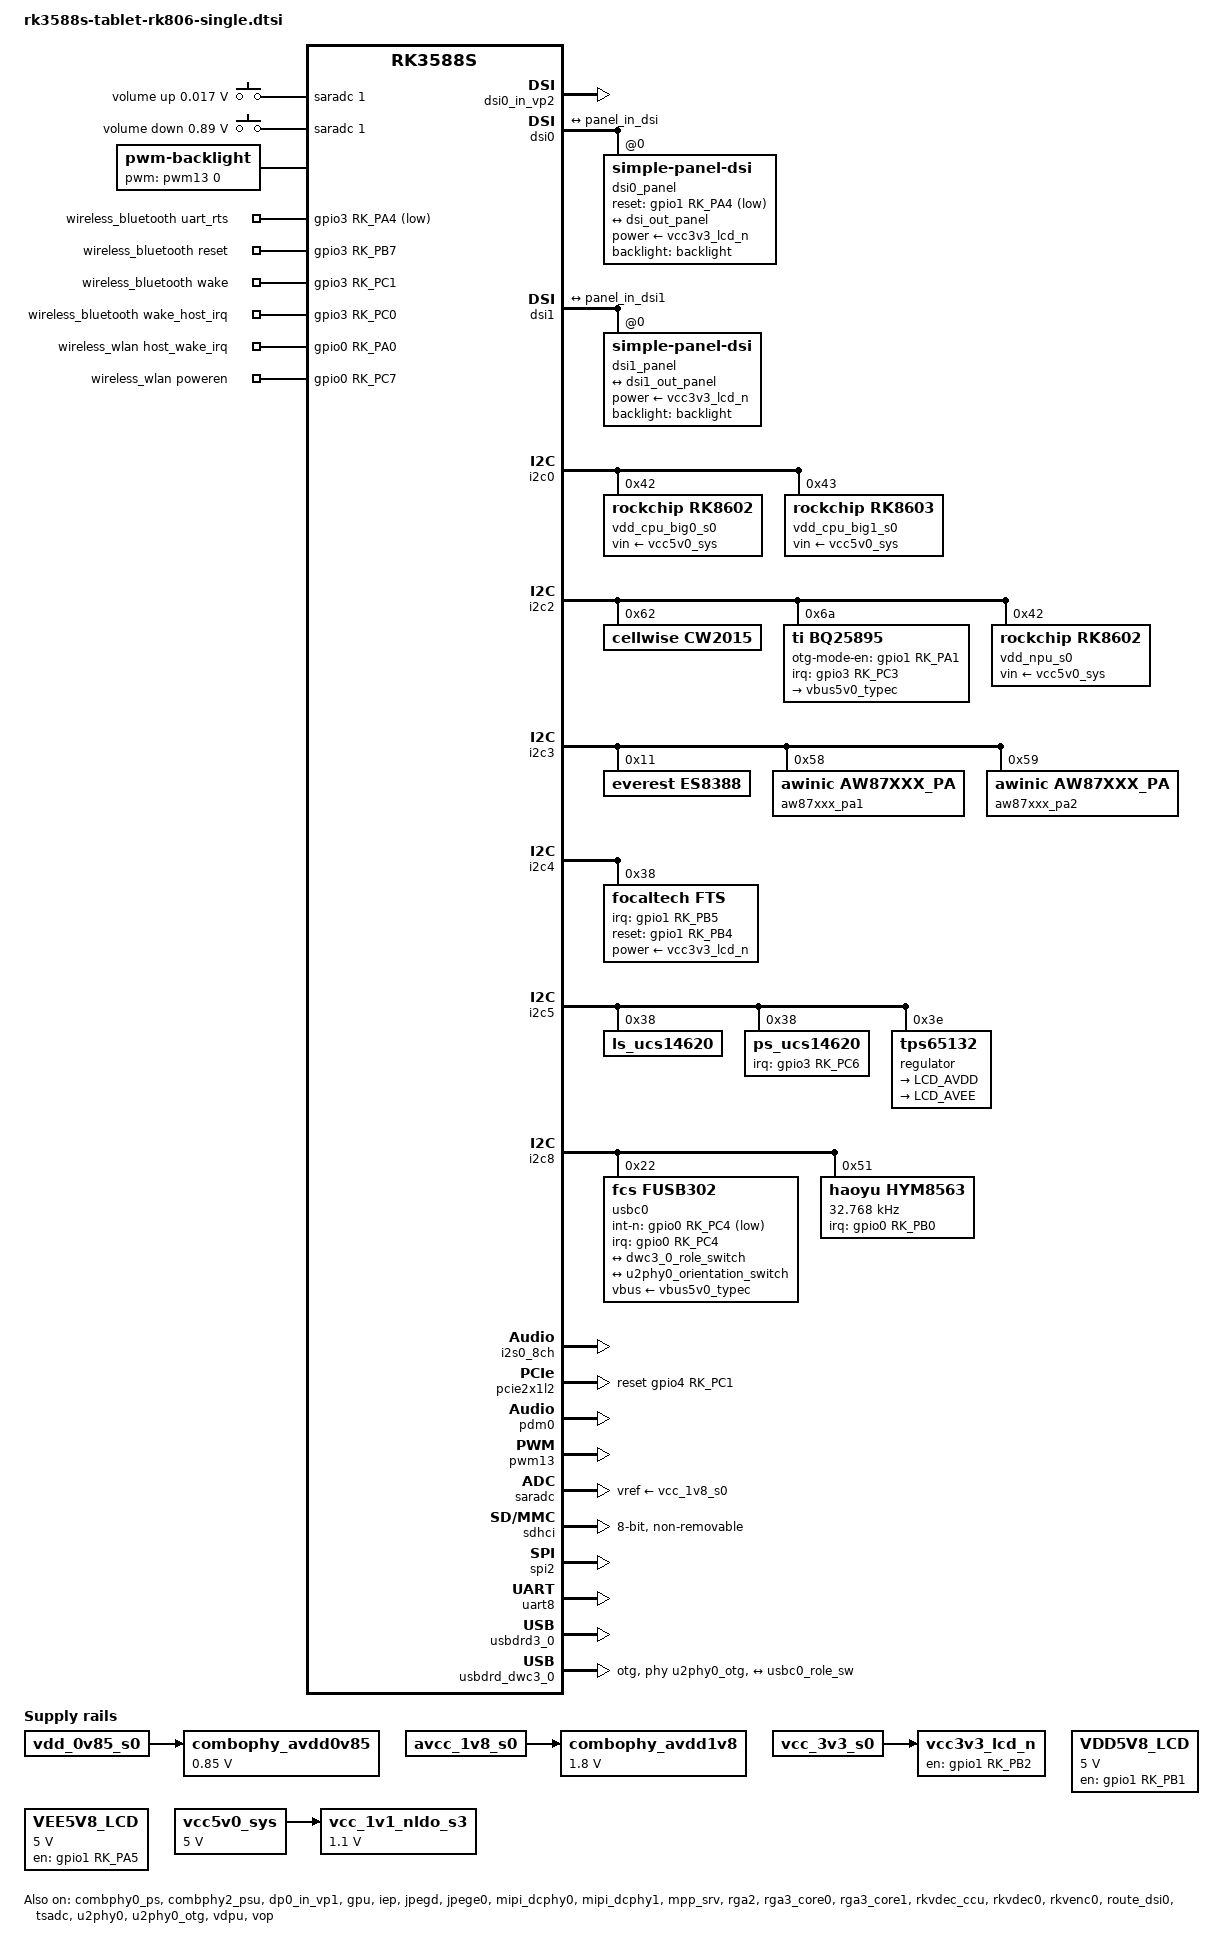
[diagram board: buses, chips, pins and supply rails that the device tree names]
// SPDX-License-Identifier: (GPL-2.0+ OR MIT)
/*
 * Copyright (c) 2021 Rockchip Electronics Co., Ltd.
 *
 */

#include <dt-bindings/gpio/gpio.h>
#include <dt-bindings/pwm/pwm.h>
#include <dt-bindings/pinctrl/rockchip.h>
#include <dt-bindings/input/rk-input.h>
#include <dt-bindings/display/drm_mipi_dsi.h>
#include <dt-bindings/display/rockchip_vop.h>
#include <dt-bindings/sensor-dev.h>
#include <dt-bindings/usb/pd.h>
#include "rk3588s.dtsi"
#include "rk3588-android.dtsi"
#include "rk3588-rk806-single.dtsi"

/ {
	adc_keys: adc-keys {
		compatible = "adc-keys";
		io-channels = <&saradc 1>;
		io-channel-names = "buttons";
		keyup-threshold-microvolt = <1800000>;
		poll-interval = <100>;

		vol-up-key {
			label = "volume up";
			linux,code = <KEY_VOLUMEUP>;
			press-threshold-microvolt = <17000>;
		};

		vol-down-key {
			label = "volume down";
			linux,code = <KEY_VOLUMEDOWN>;
			press-threshold-microvolt = <890000>;
		};
	};

	backlight: backlight {
		compatible = "pwm-backlight";
		pwms = <&pwm13 0 25000 0>;
		brightness-levels = <
			  0  20  20  21  21  22  22  23
			 23  24  24  25  25  26  26  27
			 27  28  28  29  29  30  30  31
			 31  32  32  33  33  34  34  35
			 35  36  36  37  37  38  38  39
			 40  41  42  43  44  45  46  47
			 48  49  50  51  52  53  54  55
			 56  57  58  59  60  61  62  63
			 64  65  66  67  68  69  70  71
			 72  73  74  75  76  77  78  79
			 80  81  82  83  84  85  86  87
			 88  89  90  91  92  93  94  95
			 96  97  98  99 100 101 102 103
			104 105 106 107 108 109 110 111
			112 113 114 115 116 117 118 119
			120 121 122 123 124 125 126 127
			128 129 130 131 132 133 134 135
			136 137 138 139 140 141 142 143
			144 145 146 147 148 149 150 151
			152 153 154 155 156 157 158 159
			160 161 162 163 164 165 166 167
			168 169 170 171 172 173 174 175
			176 177 178 179 180 181 182 183
			184 185 186 187 188 189 190 191
			192 193 194 195 196 197 198 199
			200 201 202 203 204 205 206 207
			208 209 210 211 212 213 214 215
			216 217 218 219 220 221 222 223
			224 225 226 227 228 229 230 231
			232 233 234 235 236 237 238 239
			240 241 242 243 244 245 246 247
			248 249 250 251 252 253 254 255
		>;
		default-brightness-level = <200>;
	};

	combophy_avdd0v85: combophy-avdd0v85 {
		compatible = "regulator-fixed";
		regulator-name = "combophy_avdd0v85";
		regulator-boot-on;
		regulator-min-microvolt = <850000>;
		regulator-max-microvolt = <850000>;
		vin-supply = <&vdd_0v85_s0>;
	};

	combophy_avdd1v8: combophy-avdd1v8 {
		compatible = "regulator-fixed";
		regulator-name = "combophy_avdd1v8";
		regulator-boot-on;
		regulator-min-microvolt = <1800000>;
		regulator-max-microvolt = <1800000>;
		vin-supply = <&avcc_1v8_s0>;
	};

	charge-animation {
		compatible = "rockchip,uboot-charge";
		rockchip,uboot-charge-on = <0>;
		rockchip,android-charge-on = <1>;
		rockchip,uboot-low-power-voltage = <3350>;
		rockchip,screen-on-voltage = <3400>;
		status = "okay";
	};

	es8388_sound: es8388-sound {
		status = "okay";
		compatible = "simple-audio-card";
		simple-audio-card,format = "i2s";
		simple-audio-card,mclk-fs = <256>;
		simple-audio-card,name = "rockchip,es8388-codec";
		simple-audio-card,aux-devs = <&aw87xxx_pa1 &aw87xxx_pa2>;
		simple-audio-card,dai-link@0 {
			format = "i2s";
			cpu {
				sound-dai = <&i2s0_8ch>;
			};
			codec {
				sound-dai = <&es8388>;
			};
		};
	};

	vcc3v3_lcd_n: vcc3v3-lcd0-n {
		compatible = "regulator-fixed";
		regulator-name = "vcc3v3_lcd0_n";
		regulator-boot-on;
		enable-active-high;
		gpio = <&gpio1 RK_PB2 GPIO_ACTIVE_HIGH>;
		vin-supply = <&vcc_3v3_s0>;
	};

	VDD5V8_LCD: vcc5v0-host {
		compatible = "regulator-fixed";
		regulator-name = "vcc5v0_host";
		regulator-boot-on;
		regulator-always-on;
		regulator-min-microvolt = <5000000>;
		regulator-max-microvolt = <5000000>;
		enable-active-high;
		gpio = <&gpio1 RK_PB1 GPIO_ACTIVE_HIGH>;
		/*vin-supply = <&vcc5v0_usb>;*/
		pinctrl-names = "default";
		pinctrl-0 = <&vcc5v0_host_en>;
	};

	VEE5V8_LCD: vcc5v0-host1 {
		compatible = "regulator-fixed";
		regulator-name = "vcc5v0_host1";
		regulator-boot-on;
		regulator-always-on;
		regulator-min-microvolt = <5000000>;
		regulator-max-microvolt = <5000000>;
		enable-active-high;
		gpio = <&gpio1 RK_PA5 GPIO_ACTIVE_HIGH>;
		/*vin-supply = <&vcc5v0_usb>;*/
		pinctrl-names = "default";
		pinctrl-0 = <&vcc5v0_host_en1>;
	};

	vcc5v0_sys: vcc5v0-sys {
		compatible = "regulator-fixed";
		regulator-name = "vcc5v0_sys";
		regulator-always-on;
		regulator-boot-on;
		regulator-min-microvolt = <5000000>;
		regulator-max-microvolt = <5000000>;
	};

	vcc_1v1_nldo_s3: vcc-1v1-nldo-s3 {
		compatible = "regulator-fixed";
		regulator-name = "vcc_1v1_nldo_s3";
		regulator-always-on;
		regulator-boot-on;
		regulator-min-microvolt = <1100000>;
		regulator-max-microvolt = <1100000>;
		vin-supply = <&vcc5v0_sys>;
	};

	wireless_bluetooth: wireless-bluetooth {
		compatible = "bluetooth-platdata";
		clocks = <&hym8563>;
		clock-names = "ext_clock";
		uart_rts_gpios = <&gpio3 RK_PA4 GPIO_ACTIVE_LOW>;
		pinctrl-names = "default", "rts_gpio";
		pinctrl-0 = <&uart8m1_rtsn>, <&bt_reset_gpio>, <&bt_wake_gpio>, <&bt_wake_host_irq>;
		pinctrl-1 = <&uart8_gpios>;
		BT,reset_gpio    = <&gpio3 RK_PB7 GPIO_ACTIVE_HIGH>;
		BT,wake_gpio     = <&gpio3 RK_PC1 GPIO_ACTIVE_HIGH>;
		BT,wake_host_irq = <&gpio3 RK_PC0 GPIO_ACTIVE_HIGH>;
		status = "okay";
	};

	wireless_wlan: wireless-wlan {
		compatible = "wlan-platdata";
		wifi_chip_type = "ap6255";
		pinctrl-names = "default";
		pinctrl-0 = <&wifi_host_wake_irq>, <&wifi_poweren_gpio>;
		WIFI,host_wake_irq = <&gpio0 RK_PA0 GPIO_ACTIVE_HIGH>;
		WIFI,poweren_gpio = <&gpio0 RK_PC7 GPIO_ACTIVE_HIGH>;
		status = "okay";
	};
};

&combphy0_ps {
	status = "okay";
};

&combphy2_psu {
	status = "okay";
};

&cpu_l0 {
	cpu-supply = <&vdd_cpu_lit_s0>;
	mem-supply = <&vdd_cpu_lit_mem_s0>;
};

&cpu_b0 {
	cpu-supply = <&vdd_cpu_big0_s0>;
	mem-supply = <&vdd_cpu_big0_mem_s0>;
};

&cpu_b2 {
	cpu-supply = <&vdd_cpu_big1_s0>;
	mem-supply = <&vdd_cpu_big1_mem_s0>;
};

&dmc {
	system-status-level = <
		/*system status         freq level*/
		SYS_STATUS_NORMAL       DMC_FREQ_LEVEL_MID_HIGH
		SYS_STATUS_REBOOT       DMC_FREQ_LEVEL_HIGH
		SYS_STATUS_SUSPEND      DMC_FREQ_LEVEL_LOW
		SYS_STATUS_BOOST        DMC_FREQ_LEVEL_HIGH
		SYS_STATUS_ISP          DMC_FREQ_LEVEL_HIGH
		SYS_STATUS_PERFORMANCE  DMC_FREQ_LEVEL_HIGH
		SYS_STATUS_DUALVIEW     DMC_FREQ_LEVEL_HIGH
	>;
};

&dp0 {
	status = "disabled";
};

&dp0_in_vp1 {
	status = "okay";
};

&dsi0_in_vp2 {
	status = "okay";
};

&dsi0_in_vp3 {
	status = "disabled";
};

/*
 * mipi_dcphy0 needs to be enabled
 * when dsi0 is enabled
 */
&dsi0 {
	status = "okay";
	rockchip,dual-channel = <&dsi1>;
	//rockchip,lane-rate = <1000>;
	dsi0_panel: panel@0 {
		status = "okay";
		compatible = "simple-panel-dsi";
		reg = <0>;
		backlight = <&backlight>;
		reset-delay-ms = <60>;
		enable-delay-ms = <60>;
		prepare-delay-ms = <60>;
		unprepare-delay-ms = <60>;
		disable-delay-ms = <60>;
		dsi,flags = <(MIPI_DSI_MODE_VIDEO | MIPI_DSI_MODE_VIDEO_BURST |
			MIPI_DSI_MODE_LPM | MIPI_DSI_MODE_EOT_PACKET)>;
		dsi,format = <MIPI_DSI_FMT_RGB888>;
		dsi,lanes  = <4>;
		panel-init-sequence = [
			23 00 02 FE 21
			23 00 02 04 00
			23 00 02 00 64
			23 00 02 2A 00
			23 00 02 26 64
			23 00 02 54 00
			23 00 02 50 64
			23 00 02 7B 00
			23 00 02 77 64
			23 00 02 A2 00
			23 00 02 9D 64
			23 00 02 C9 00
			23 00 02 C5 64
			23 00 02 01 71
			23 00 02 27 71
			23 00 02 51 71
			23 00 02 78 71
			23 00 02 9E 71
			23 00 02 C6 71
			23 00 02 02 89
			23 00 02 28 89
			23 00 02 52 89
			23 00 02 79 89
			23 00 02 9F 89
			23 00 02 C7 89
			23 00 02 03 9E
			23 00 02 29 9E
			23 00 02 53 9E
			23 00 02 7A 9E
			23 00 02 A0 9E
			23 00 02 C8 9E
			23 00 02 09 00
			23 00 02 05 B0
			23 00 02 31 00
			23 00 02 2B B0
			23 00 02 5A 00
			23 00 02 55 B0
			23 00 02 80 00
			23 00 02 7C B0
			23 00 02 A7 00
			23 00 02 A3 B0
			23 00 02 CE 00
			23 00 02 CA B0
			23 00 02 06 C0
			23 00 02 2D C0
			23 00 02 56 C0
			23 00 02 7D C0
			23 00 02 A4 C0
			23 00 02 CB C0
			23 00 02 07 CF
			23 00 02 2F CF
			23 00 02 58 CF
			23 00 02 7E CF
			23 00 02 A5 CF
			23 00 02 CC CF
			23 00 02 08 DD
			23 00 02 30 DD
			23 00 02 59 DD
			23 00 02 7F DD
			23 00 02 A6 DD
			23 00 02 CD DD
			23 00 02 0E 15
			23 00 02 0A E9
			23 00 02 36 15
			23 00 02 32 E9
			23 00 02 5F 15
			23 00 02 5B E9
			23 00 02 85 15
			23 00 02 81 E9
			23 00 02 AD 15
			23 00 02 A9 E9
			23 00 02 D3 15
			23 00 02 CF E9
			23 00 02 0B 14
			23 00 02 33 14
			23 00 02 5C 14
			23 00 02 82 14
			23 00 02 AA 14
			23 00 02 D0 14
			23 00 02 0C 36
			23 00 02 34 36
			23 00 02 5D 36
			23 00 02 83 36
			23 00 02 AB 36
			23 00 02 D1 36
			23 00 02 0D 6B
			23 00 02 35 6B
			23 00 02 5E 6B
			23 00 02 84 6B
			23 00 02 AC 6B
			23 00 02 D2 6B
			23 00 02 13 5A
			23 00 02 0F 94
			23 00 02 3B 5A
			23 00 02 37 94
			23 00 02 64 5A
			23 00 02 60 94
			23 00 02 8A 5A
			23 00 02 86 94
			23 00 02 B2 5A
			23 00 02 AE 94
			23 00 02 D8 5A
			23 00 02 D4 94
			23 00 02 10 D1
			23 00 02 38 D1
			23 00 02 61 D1
			23 00 02 87 D1
			23 00 02 AF D1
			23 00 02 D5 D1
			23 00 02 11 04
			23 00 02 39 04
			23 00 02 62 04
			23 00 02 88 04
			23 00 02 B0 04
			23 00 02 D6 04
			23 00 02 12 05
			23 00 02 3A 05
			23 00 02 63 05
			23 00 02 89 05
			23 00 02 B1 05
			23 00 02 D7 05
			23 00 02 18 AA
			23 00 02 14 36
			23 00 02 42 AA
			23 00 02 3D 36
			23 00 02 69 AA
			23 00 02 65 36
			23 00 02 8F AA
			23 00 02 8B 36
			23 00 02 B7 AA
			23 00 02 B3 36
			23 00 02 DD AA
			23 00 02 D9 36
			23 00 02 15 74
			23 00 02 3F 74
			23 00 02 66 74
			23 00 02 8C 74
			23 00 02 B4 74
			23 00 02 DA 74
			23 00 02 16 9F
			23 00 02 40 9F
			23 00 02 67 9F
			23 00 02 8D 9F
			23 00 02 B5 9F
			23 00 02 DB 9F
			23 00 02 17 DC
			23 00 02 41 DC
			23 00 02 68 DC
			23 00 02 8E DC
			23 00 02 B6 DC
			23 00 02 DC DC
			23 00 02 1D FF
			23 00 02 19 03
			23 00 02 47 FF
			23 00 02 43 03
			23 00 02 6E FF
			23 00 02 6A 03
			23 00 02 94 FF
			23 00 02 90 03
			23 00 02 BC FF
			23 00 02 B8 03
			23 00 02 E2 FF
			23 00 02 DE 03
			23 00 02 1A 35
			23 00 02 44 35
			23 00 02 6B 35
			23 00 02 91 35
			23 00 02 B9 35
			23 00 02 DF 35
			23 00 02 1B 45
			23 00 02 45 45
			23 00 02 6C 45
			23 00 02 92 45
			23 00 02 BA 45
			23 00 02 E0 45
			23 00 02 1C 55
			23 00 02 46 55
			23 00 02 6D 55
			23 00 02 93 55
			23 00 02 BB 55
			23 00 02 E1 55
			23 00 02 22 FF
			23 00 02 1E 68
			23 00 02 4C FF
			23 00 02 48 68
			23 00 02 73 FF
			23 00 02 6F 68
			23 00 02 99 FF
			23 00 02 95 68
			23 00 02 C1 FF
			23 00 02 BD 68
			23 00 02 E7 FF
			23 00 02 E3 68
			23 00 02 1F 7E
			23 00 02 49 7E
			23 00 02 70 7E
			23 00 02 96 7E
			23 00 02 BE 7E
			23 00 02 E4 7E
			23 00 02 20 97
			23 00 02 4A 97
			23 00 02 71 97
			23 00 02 97 97
			23 00 02 BF 97
			23 00 02 E5 97
			23 00 02 21 B5
			23 00 02 4B B5
			23 00 02 72 B5
			23 00 02 98 B5
			23 00 02 C0 B5
			23 00 02 E6 B5
			23 00 02 25 F0
			23 00 02 23 E8
			23 00 02 4F F0
			23 00 02 4D E8
			23 00 02 76 F0
			23 00 02 74 E8
			23 00 02 9C F0
			23 00 02 9A E8
			23 00 02 C4 F0
			23 00 02 C2 E8
			23 00 02 EA F0
			23 00 02 E8 E8
			23 00 02 24 FF
			23 00 02 4E FF
			23 00 02 75 FF
			23 00 02 9B FF
			23 00 02 C3 FF
			23 00 02 E9 FF
			23 00 02 FE 3D
			23 00 02 00 04
			23 00 02 FE 23
			23 00 02 08 82
			23 00 02 0A 00
			23 00 02 0B 00
			23 00 02 0C 01
			23 00 02 16 00
			23 00 02 18 02
			23 00 02 1B 04
			23 00 02 19 04
			23 00 02 1C 81
			23 00 02 1F 00
			23 00 02 20 03
			23 00 02 23 04
			23 00 02 21 01
			23 00 02 54 63
			23 00 02 55 54
			23 00 02 6E 45
			23 00 02 6D 36
			23 00 02 FE 3D
			23 00 02 55 78
			23 00 02 FE 20
			23 00 02 26 30
			23 00 02 FE 3D
			23 00 02 20 71
			23 00 02 50 8F
			23 00 02 51 8F
			23 00 02 FE 00
			23 00 02 35 00
			05 78 01 11
			05 1E 01 29
		];

		panel-exit-sequence = [
			05 00 01 28
			05 00 01 10
		];

		disp_timings0: display-timings {
			native-mode = <&dsi0_timing0>;
			dsi0_timing0: timing0 {
				clock-frequency = <132000000>;
				hactive = <1080>;
				vactive = <1920>;
				hfront-porch = <15>;
				hsync-len = <4>;
				hback-porch = <30>;
				vfront-porch = <15>;
				vsync-len = <2>;
				vback-porch = <15>;
				hsync-active = <0>;
				vsync-active = <0>;
				de-active = <0>;
				pixelclk-active = <0>;
			};
		};

		ports {
			#address-cells = <1>;
			#size-cells = <0>;

			port@0 {
				reg = <0>;
				panel_in_dsi: endpoint {
					remote-endpoint = <&dsi_out_panel>;
				};
			};
		};
	};

	ports {
		#address-cells = <1>;
		#size-cells = <0>;

		port@1 {
			reg = <1>;
			dsi_out_panel: endpoint {
				remote-endpoint = <&panel_in_dsi>;
			};
		};
	};

};

&dsi1 {
	status = "okay";
	//rockchip,lane-rate = <1000>;
	dsi1_panel: panel@0 {
		status = "okay";
		compatible = "simple-panel-dsi";
		reg = <0>;
		backlight = <&backlight>;
		reset-delay-ms = <60>;
		enable-delay-ms = <60>;
		prepare-delay-ms = <60>;
		unprepare-delay-ms = <60>;
		disable-delay-ms = <60>;
		dsi,flags = <(MIPI_DSI_MODE_VIDEO | MIPI_DSI_MODE_VIDEO_BURST |
			MIPI_DSI_MODE_LPM | MIPI_DSI_MODE_EOT_PACKET)>;
		dsi,format = <MIPI_DSI_FMT_RGB888>;
		dsi,lanes  = <4>;
		panel-init-sequence = [
			23 00 02 FE 21
			23 00 02 04 00
			23 00 02 00 64
			23 00 02 2A 00
			23 00 02 26 64
			23 00 02 54 00
			23 00 02 50 64
			23 00 02 7B 00
			23 00 02 77 64
			23 00 02 A2 00
			23 00 02 9D 64
			23 00 02 C9 00
			23 00 02 C5 64
			23 00 02 01 71
			23 00 02 27 71
			23 00 02 51 71
			23 00 02 78 71
			23 00 02 9E 71
			23 00 02 C6 71
			23 00 02 02 89
			23 00 02 28 89
			23 00 02 52 89
			23 00 02 79 89
			23 00 02 9F 89
			23 00 02 C7 89
			23 00 02 03 9E
			23 00 02 29 9E
			23 00 02 53 9E
			23 00 02 7A 9E
			23 00 02 A0 9E
			23 00 02 C8 9E
			23 00 02 09 00
			23 00 02 05 B0
			23 00 02 31 00
			23 00 02 2B B0
			23 00 02 5A 00
			23 00 02 55 B0
			23 00 02 80 00
			23 00 02 7C B0
			23 00 02 A7 00
			23 00 02 A3 B0
			23 00 02 CE 00
			23 00 02 CA B0
			23 00 02 06 C0
			23 00 02 2D C0
			23 00 02 56 C0
			23 00 02 7D C0
			23 00 02 A4 C0
			23 00 02 CB C0
			23 00 02 07 CF
			23 00 02 2F CF
			23 00 02 58 CF
			23 00 02 7E CF
			23 00 02 A5 CF
			23 00 02 CC CF
			23 00 02 08 DD
			23 00 02 30 DD
			23 00 02 59 DD
			23 00 02 7F DD
			23 00 02 A6 DD
			23 00 02 CD DD
			23 00 02 0E 15
			23 00 02 0A E9
			23 00 02 36 15
			23 00 02 32 E9
			23 00 02 5F 15
			23 00 02 5B E9
			23 00 02 85 15
			23 00 02 81 E9
			23 00 02 AD 15
			23 00 02 A9 E9
			23 00 02 D3 15
			23 00 02 CF E9
			23 00 02 0B 14
			23 00 02 33 14
			23 00 02 5C 14
			23 00 02 82 14
			23 00 02 AA 14
			23 00 02 D0 14
			23 00 02 0C 36
			23 00 02 34 36
			23 00 02 5D 36
			23 00 02 83 36
			23 00 02 AB 36
			23 00 02 D1 36
			23 00 02 0D 6B
			23 00 02 35 6B
			23 00 02 5E 6B
			23 00 02 84 6B
			23 00 02 AC 6B
			23 00 02 D2 6B
			23 00 02 13 5A
			23 00 02 0F 94
			23 00 02 3B 5A
			23 00 02 37 94
			23 00 02 64 5A
			23 00 02 60 94
			23 00 02 8A 5A
			23 00 02 86 94
			23 00 02 B2 5A
			23 00 02 AE 94
			23 00 02 D8 5A
			23 00 02 D4 94
			23 00 02 10 D1
			23 00 02 38 D1
			23 00 02 61 D1
			23 00 02 87 D1
			23 00 02 AF D1
			23 00 02 D5 D1
			23 00 02 11 04
			23 00 02 39 04
			23 00 02 62 04
			23 00 02 88 04
			23 00 02 B0 04
			23 00 02 D6 04
			23 00 02 12 05
			23 00 02 3A 05
			23 00 02 63 05
			23 00 02 89 05
			23 00 02 B1 05
			23 00 02 D7 05
			23 00 02 18 AA
			23 00 02 14 36
			23 00 02 42 AA
			23 00 02 3D 36
			23 00 02 69 AA
			23 00 02 65 36
			23 00 02 8F AA
			23 00 02 8B 36
			23 00 02 B7 AA
			23 00 02 B3 36
			23 00 02 DD AA
			23 00 02 D9 36
			23 00 02 15 74
			23 00 02 3F 74
			23 00 02 66 74
			23 00 02 8C 74
			23 00 02 B4 74
			23 00 02 DA 74
			23 00 02 16 9F
			23 00 02 40 9F
			23 00 02 67 9F
			23 00 02 8D 9F
			23 00 02 B5 9F
			23 00 02 DB 9F
			23 00 02 17 DC
			23 00 02 41 DC
			23 00 02 68 DC
			23 00 02 8E DC
			23 00 02 B6 DC
			23 00 02 DC DC
			23 00 02 1D FF
			23 00 02 19 03
			23 00 02 47 FF
			23 00 02 43 03
			23 00 02 6E FF
			23 00 02 6A 03
			23 00 02 94 FF
			23 00 02 90 03
			23 00 02 BC FF
			23 00 02 B8 03
			23 00 02 E2 FF
			23 00 02 DE 03
			23 00 02 1A 35
			23 00 02 44 35
			23 00 02 6B 35
			23 00 02 91 35
			23 00 02 B9 35
			23 00 02 DF 35
			23 00 02 1B 45
			23 00 02 45 45
			23 00 02 6C 45
			23 00 02 92 45
			23 00 02 BA 45
			23 00 02 E0 45
			23 00 02 1C 55
			23 00 02 46 55
			23 00 02 6D 55
			23 00 02 93 55
			23 00 02 BB 55
			23 00 02 E1 55
			23 00 02 22 FF
			23 00 02 1E 68
			23 00 02 4C FF
			23 00 02 48 68
			23 00 02 73 FF
			23 00 02 6F 68
			23 00 02 99 FF
			23 00 02 95 68
			23 00 02 C1 FF
			23 00 02 BD 68
			23 00 02 E7 FF
			23 00 02 E3 68
			23 00 02 1F 7E
			23 00 02 49 7E
			23 00 02 70 7E
			23 00 02 96 7E
			23 00 02 BE 7E
			23 00 02 E4 7E
			23 00 02 20 97
			23 00 02 4A 97
			23 00 02 71 97
			23 00 02 97 97
			23 00 02 BF 97
			23 00 02 E5 97
			23 00 02 21 B5
			23 00 02 4B B5
			23 00 02 72 B5
			23 00 02 98 B5
			23 00 02 C0 B5
			23 00 02 E6 B5
			23 00 02 25 F0
			23 00 02 23 E8
			23 00 02 4F F0
			23 00 02 4D E8
			23 00 02 76 F0
			23 00 02 74 E8
			23 00 02 9C F0
			23 00 02 9A E8
			23 00 02 C4 F0
			23 00 02 C2 E8
			23 00 02 EA F0
			23 00 02 E8 E8
			23 00 02 24 FF
			23 00 02 4E FF
			23 00 02 75 FF
			23 00 02 9B FF
			23 00 02 C3 FF
			23 00 02 E9 FF
			23 00 02 FE 3D
			23 00 02 00 04
			23 00 02 FE 23
			23 00 02 08 82
			23 00 02 0A 00
			23 00 02 0B 00
			23 00 02 0C 01
			23 00 02 16 00
			23 00 02 18 02
			23 00 02 1B 04
			23 00 02 19 04
			23 00 02 1C 81
			23 00 02 1F 00
			23 00 02 20 03
			23 00 02 23 04
			23 00 02 21 01
			23 00 02 54 63
			23 00 02 55 54
			23 00 02 6E 45
			23 00 02 6D 36
			23 00 02 FE 3D
			23 00 02 55 78
			23 00 02 FE 20
			23 00 02 26 30
			23 00 02 FE 3D
			23 00 02 20 71
			23 00 02 50 8F
			23 00 02 51 8F
			23 00 02 FE 00
			23 00 02 35 00
			05 78 01 11
			05 1E 01 29
		];

		panel-exit-sequence = [
			05 00 01 28
			05 00 01 10
		];

		disp_timings1: display-timings {
			native-mode = <&dsi1_timing0>;
			dsi1_timing0: timing0 {
				clock-frequency = <132000000>;
				hactive = <1080>;
				vactive = <1920>;
				hfront-porch = <15>;
				hsync-len = <4>;
				hback-porch = <30>;
				vfront-porch = <15>;
				vsync-len = <2>;
				vback-porch = <15>;
				hsync-active = <0>;
				vsync-active = <0>;
				de-active = <0>;
				pixelclk-active = <0>;
			};
		};

		ports {
			#address-cells = <1>;
			#size-cells = <0>;

			port@0 {
				reg = <0>;
				panel_in_dsi1: endpoint {
					remote-endpoint = <&dsi1_out_panel>;
				};
			};
		};
	};

	ports {
		#address-cells = <1>;
		#size-cells = <0>;

		port@1 {
			reg = <1>;
			dsi1_out_panel: endpoint {
				remote-endpoint = <&panel_in_dsi1>;
			};
		};
	};

};

&dsi0_panel {
	power-supply = <&vcc3v3_lcd_n>;
	reset-gpios = <&gpio1 RK_PA4 GPIO_ACTIVE_LOW>;
	pinctrl-names = "default";
	pinctrl-0 = <&lcd_rst_gpio>;
	dsi,lanes  = <8>;
	panel-init-sequence = [
		29 02 02 00 00
		29 02 03 99 95 27
		05 78 01 11
		05 01 01 29
		29 00 02 00 00
		29 01 03 99 00 00
	];

	panel-exit-sequence = [
		29 00 02 00 00
		29 00 03 99 95 27
		05 01 01 28
		05 01 01 10
	];

	disp_timings0: display-timings {
		native-mode = <&dsi0_timing0>;
		dsi0_timing0: timing0 {
			clock-frequency = <246000000>;
			hactive = <1600>;
			vactive = <2176>;
			hfront-porch = <18>;
			hsync-len = <8>;
			hback-porch = <32>;
			vfront-porch = <255>;
			vsync-len = <6>;
			vback-porch = <34>;
			hsync-active = <0>;
			vsync-active = <0>;
			de-active = <0>;
			pixelclk-active = <0>;
		};
	};
};

&dsi1_in_vp2 {
	status = "disabled";
};

&dsi1_in_vp3 {
	status = "disabled";
};

&dsi1_panel {
	power-supply = <&vcc3v3_lcd_n>;
	compressed-data;
	/*
	 * because in hardware, the two screens share the reset pin,
	 * so reset-gpios need only in dsi1 enable and dsi0 disabled
	 * case.
	 */

	//reset-gpios = <&gpio1 RK_PA4 GPIO_ACTIVE_LOW>;
	//pinctrl-names = "default";
	//pinctrl-0 = <&lcd_rst_gpio>;

	dsi,flags = <(MIPI_DSI_MODE_LPM | MIPI_DSI_MODE_EOT_PACKET)>;

	slice-width = <720>;
	slice-height = <65>;
	version-major = <1>;
	version-minor = <1>;

	panel-init-sequence = [
		29 10 03 f0 5a 5a
		/* Dsc Setting */
		/* Compression Enable */
		07 10 01 01
		/* Scaler Disable */
		15 10 02 c3 00
		/* PPS Setting */
		0a 31 59 10 00 00 89 30 80 0c 30 05 a0 00 41 02 d0 02 d0 02 00 02 c2 00 20 06 58 00 0a 00 0f 01 e0 01 2d 18 00 10 f0 03 0c 20 00 06 0b 0b 33 0e 1c 2a 38 46 54 62 69 70 77 79 7b 7d 7e 01 02 01 00 09 40 09 be 19 fc 19 fa 19 f8 1a 38 1a 78 1a b6 2a b6 2a f4 2a f4 4b 34 63 74 00
		29 10 03 f0 a5 a5
		/** Sleep Out */
		05 00 01 11
		/* 4. Common Setting */
		/* 4.1 TE(Vync) ON/OFF */
		15 00 02 35 00
		/* 4.2 CASET/PASET Setting */
		39 00 05 2a 00 00 05 9F
		39 00 05 2b 00 00 0c 2f
		/* 4.3 TSP SYNC Setting */
		39 00 03 f0 5a 5a
		39 00 0a B9 01 c0 3c 0b 00 00 00 11 03
		39 00 03 f0 a5 a5
		/* FD(Fast Discharge) Setting */
		39 00 03 f0 5a 5a
		15 00 02 b0 45
		15 00 02 b5 48
		39 00 03 f0 a5 a5
		/* 4.6 FFC Setting (MIPI CLK 529MHz) */
		39 00 03 f0 5a 5a
		39 00 03 fc 5a 5a
		15 00 02 b0 1E
		39 00 06 c5 09 10 b4 24 fb
		39 00 03 f0 a5 a5
		39 00 03 fc a5 a5
		/* OSC Spread Setting */
		39 00 03 f0 5a 5a
		39 00 03 fc 5a 5a
		15 00 02 b0 37
		/* FFC Setting; 0x04 : Disable */
		39 00 06 c5 04 ff 00 01 64
		39 00 03 f0 a5 a5
		39 00 03 fc a5 a5
		/* Dither IP Setting */
		39 00 03 FC 5A 5A
		15 00 02 b0 86
		15 00 02 eb 01
		39 00 03 FC a5 a5
		/* 5 Brightness Control */
		/* 5.1 Dimming Setting */
		39 10 03 f0 5a 5a
		15 10 02 b0 05
		15 10 02 b1 01
		15 10 02 b0 02
		15 10 02 b5 d3
		15 10 02 53 20
		39 10 03 f0 a5 a5
		39 10 03 51 02 ff
		05 32 01 29
	];

	panel-exit-sequence = [
		/* Display off */
		05 14 01 28
		/* Sleep In */
		05 00 01 10
		/* VCI stabilization setting */
		39 00 03 f0 5a 5a
		15 00 02 b0 05
		15 00 02 f4 01
		39 a0 03 f0 a5 a5
	];

	disp_timings1: display-timings {
		native-mode = <&dsi1_timing0>;
		dsi1_timing0: timing0 {
			clock-frequency = <280000000>;
			hactive = <1140>;
			vactive = <3120>;
			hfront-porch = <16>;
			hsync-len = <8>;
			hback-porch = <8>;
			vfront-porch = <4>;
			vsync-len = <2>;
			vback-porch = <16>;
			hsync-active = <0>;
			vsync-active = <0>;
			de-active = <0>;
			pixelclk-active = <0>;
		};
	};
};

&gpu {
	mali-supply = <&vdd_gpu_s0>;
	mem-supply = <&vdd_gpu_mem_s0>;
	upthreshold = <60>;
	downdifferential = <30>;
	status = "okay";
};

&i2c0 {
	status = "okay";
	pinctrl-names = "default";
	pinctrl-0 = <&i2c0m2_xfer>;

	vdd_cpu_big0_s0: vdd_cpu_big0_mem_s0: rk8602@42 {
		compatible = "rockchip,rk8602";
		reg = <0x42>;
		vin-supply = <&vcc5v0_sys>;
		regulator-compatible = "rk860x-reg";
		regulator-name = "vdd_cpu_big0_s0";
		regulator-min-microvolt = <550000>;
		regulator-max-microvolt = <1050000>;
		regulator-ramp-delay = <2300>;
		rockchip,suspend-voltage-selector = <1>;
		regulator-boot-on;
		regulator-always-on;
		regulator-state-mem {
			regulator-off-in-suspend;
		};
	};

	vdd_cpu_big1_s0: vdd_cpu_big1_mem_s0: rk8603@43 {
		compatible = "rockchip,rk8603";
		reg = <0x43>;
		vin-supply = <&vcc5v0_sys>;
		regulator-compatible = "rk860x-reg";
		regulator-name = "vdd_cpu_big1_s0";
		regulator-min-microvolt = <550000>;
		regulator-max-microvolt = <1050000>;
		regulator-ramp-delay = <2300>;
		rockchip,suspend-voltage-selector = <1>;
		regulator-boot-on;
		regulator-always-on;
		regulator-state-mem {
			regulator-off-in-suspend;
		};
	};
};

&i2c2 {
	status = "okay";

	cw2015@62 {
		status = "okay";
		compatible = "cellwise,cw2015";
		reg = <0x62>;
		cellwise,battery-profile = /bits/ 8
			<0x17 0x67 0x6C 0x66 0x65 0x64 0x61 0x5B
			 0x5F 0x75 0x49 0x52 0x50 0x51 0x48 0x3D
			 0x34 0x2C 0x29 0x21 0x23 0x2D 0x40 0x49
			 0x25 0x5C 0x0B 0x85 0x10 0x1F 0x31 0x49
			 0x58 0x5E 0x63 0x6C 0x3E 0x1D 0x9A 0x35
			 0x0A 0x33 0x15 0x3B 0x70 0x99 0xAB 0x17
			 0x40 0x75 0x99 0xC4 0x80 0xB5 0xDE 0xCB
			 0x2F 0x00 0x64 0xA5 0xB5 0x00 0xF8 0x39>;
		cellwise,monitor-interval-ms = <5000>;
		power-supplies = <&bq25895>;
	};

	bq25895: charger@6a {
		compatible = "ti,bq25895", "ti,bq25890";
		reg = <0x6a>;
		pinctrl-names = "default";
		pinctrl-0 = <&charger_ok>;
		interrupt-parent = <&gpio3>;
		interrupts = <RK_PC3 IRQ_TYPE_EDGE_FALLING>;
		otg-mode-en-gpios = <&gpio1 RK_PA1 GPIO_ACTIVE_HIGH>;
		ti,usb-charger-detection = <&usbc0>;

		ti,battery-regulation-voltage = <4400000>; /* 4.4V */
		ti,charge-current = <1600000>; /* 1.6A */
		ti,termination-current = <66000>;  /* 66mA */
		ti,precharge-current = <130000>; /* 130mA */
		ti,minimum-sys-voltage = <3000000>; /* 3V */
		ti,boost-voltage = <5000000>; /* 5V */
		ti,boost-max-current = <1600000>; /* 1600mA */
		regulators {
			vbus5v0_typec: vbus5v0-typec {
				regulator-compatible = "otg-vbus";
				regulator-name = "vbus5v0_typec";
			};
		};
	};

	vdd_npu_s0: vdd_npu_mem_s0: rk8602@42 {
		compatible = "rockchip,rk8602";
		reg = <0x42>;
		vin-supply = <&vcc5v0_sys>;
		regulator-compatible = "rk860x-reg";
		regulator-name = "vdd_npu_s0";
		regulator-min-microvolt = <550000>;
		regulator-max-microvolt = <950000>;
		regulator-ramp-delay = <2300>;
		rockchip,suspend-voltage-selector = <1>;
		regulator-boot-on;
		regulator-always-on;
		regulator-state-mem {
			regulator-off-in-suspend;
		};
	};
};

&i2c3 {
	status = "okay";

	es8388: es8388@11 {
		status = "okay";
		#sound-dai-cells = <0>;
		compatible = "everest,es8388", "everest,es8323";
		reg = <0x11>;
		clocks = <&cru I2S0_8CH_MCLKOUT>;
		clock-names = "mclk";
		pinctrl-names = "default";
		pinctrl-0 = <&i2s0_mclk>;
	};

	aw87xxx_pa1: aw87xxx_pa1@58 {
		compatible = "awinic,aw87xxx_pa";
		#sound-dai-cells = <0>;
		reg = <0x58>;
		dev_index = < 0 >;
		status = "okay";
	};

	aw87xxx_pa2: aw87xxx_pa2@59 {
		compatible = "awinic,aw87xxx_pa";
		#sound-dai-cells = <0>;
		reg = <0x59>;
		dev_index = < 1 >;
		status = "okay";
	};
};

&i2c4 {
	status = "okay";
	pinctrl-names = "default";
	pinctrl-0 = <&i2c4m3_xfer>;

	focaltech: focaltech@38 {
		status = "okay";
		compatible = "focaltech,fts";
		reg = <0x38>;
		power-supply = <&vcc3v3_lcd_n>;
		pinctrl-names = "default";
		pinctrl-0 = <&touch_gpio>;
		focaltech,irq-gpio = <&gpio1 RK_PB5 IRQ_TYPE_LEVEL_LOW>;
		focaltech,reset-gpio = <&gpio1 RK_PB4 GPIO_ACTIVE_HIGH>;
		focaltech,have-key = <0>;
		focaltech,key-number = <3>;
		focaltech,keys = <256 1068 64 64 128 1068 64 64 192 1068 64 64>;
		focaltech,key-x-coord = <1600>;
		focaltech,key-y-coord = <2176>;
		focaltech,max-touch-number = <5>;
	};
};

&i2c5 {
	status = "okay";
	pinctrl-names = "default";
	//pinctrl-0 = <&i2c5m3_xfer>;
	pinctrl-0 = <&i2c5m0_xfer>;

	ls_ucs14620: light@38 {
		compatible = "ls_ucs14620";
		status = "okay";
		reg = <0x38>;
		type = <SENSOR_TYPE_LIGHT>;
		irq_enable = <0>;
		als_threshold_high = <100>;
		als_threshold_low = <10>;
		als_ctrl_gain = <3>;/* 0:x1 1:x4 2:x16 3:x64 */
		als_ctrl_time = <0x9f>;
		poll_delay_ms = <100>;
	};

	ps_ucs14620: proximity@38 {
		status = "okay";
		compatible = "ps_ucs14620";
		reg = <0x38>;
		type = <SENSOR_TYPE_PROXIMITY>;
		//pinctrl-names = "default";
		//pinctrl-0 = <&gpio3_c6>;
		irq-gpio = <&gpio3 RK_PC6 IRQ_TYPE_LEVEL_LOW>;
		irq_enable = <0>;
		ps_threshold_high = <0x20>;
		ps_threshold_low = <0x1d>;
		ps_ctrl_gain = <3>; /* 0:x1 1:x2 2:x5 3:x8 */
		ps_led_current = <3>; /* 0:12.5mA 1:100mA 2:150mA 3:200mA*/
		poll_delay_ms = <100>;
	};

	regulator@3e {
		compatible = "tps65132";
		reg = <0x3e>;

		outp {
			regulator-name = "LCD_AVDD"; //P
			vin-supply = <&vcc5v0_sys>;
			/*pinctrl-names = "default";*/
			/*pinctrl-0 = <&pinctrl_dsibiasen>;*/
			/*enable = <&gpio1 RK_PB1 GPIO_ACTIVE_HIGH>;*/
			/*enable-active-high;*/
		};

		outn {
			regulator-name = "LCD_AVEE";
			vin-supply = <&vcc5v0_sys>;
			/*enable = <&gpio1 RK_PA5 GPIO_ACTIVE_HIGH>;*/
		};
	};
};

&i2c8 {
	status = "okay";
	pinctrl-names = "default";
	pinctrl-0 = <&i2c8m2_xfer>;

	usbc0: fusb302@22 {
		compatible = "fcs,fusb302";
		reg = <0x22>;
		interrupt-parent = <&gpio0>;
		interrupts = <RK_PC4 IRQ_TYPE_LEVEL_LOW>;
		int-n-gpios = <&gpio0 RK_PC4 GPIO_ACTIVE_LOW>;
		pinctrl-names = "default";
		pinctrl-0 = <&usbc0_int>;
		vbus-supply = <&vbus5v0_typec>;
		status = "okay";

		ports {
			#address-cells = <1>;
			#size-cells = <0>;

			port@0 {
				reg = <0>;
				usbc0_role_sw: endpoint@0 {
					remote-endpoint = <&dwc3_0_role_switch>;
				};
			};
		};

		usb_con: connector {
			compatible = "usb-c-connector";
			label = "USB-C";
			data-role = "dual";
			power-role = "dual";
			try-power-role = "sink";
			op-sink-microwatt = <1000000>;
			sink-pdos =
				<PDO_FIXED(5000, 3000, PDO_FIXED_USB_COMM)
				 PDO_FIXED(9000, 3000, PDO_FIXED_USB_COMM)
				 PDO_FIXED(12000, 3000, PDO_FIXED_USB_COMM)>;
			source-pdos =
				<PDO_FIXED(5000, 3000, PDO_FIXED_USB_COMM)>;

			ports {
				#address-cells = <1>;
				#size-cells = <0>;

				port@0 {
					reg = <0>;
					usbc0_orien_sw: endpoint {
						remote-endpoint = <&u2phy0_orientation_switch>;
					};
				};
			};

		};
	};

	hym8563: hym8563@51 {
		compatible = "haoyu,hym8563";
		reg = <0x51>;
		#clock-cells = <0>;
		clock-frequency = <32768>;
		clock-output-names = "hym8563";
		pinctrl-names = "default";
		pinctrl-0 = <&hym8563_int>;
		interrupt-parent = <&gpio0>;
		interrupts = <RK_PB0 IRQ_TYPE_LEVEL_LOW>;
		wakeup-source;
		status = "okay";
	};
};

&i2s0_8ch {
	status = "okay";
	pinctrl-0 = <&i2s0_lrck
		     &i2s0_sclk
		     &i2s0_sdi0
		     &i2s0_sdo0>;
};

&iep {
	status = "okay";
};

&iep_mmu {
	status = "okay";
};

&jpegd {
	status = "okay";
};

&jpegd_mmu {
	status = "okay";
};

&jpege0 {
	status = "okay";
};

&jpege0_mmu {
	status = "okay";
};

&mipi_dcphy0 {
	status = "okay";
};

&mipi_dcphy1 {
	status = "okay";
};

&mpp_srv {
	status = "okay";
};

&pcie2x1l2 {
	reset-gpios = <&gpio4 RK_PC1 GPIO_ACTIVE_HIGH>;
	rockchip,skip-scan-in-resume;
	status = "okay";
};

&pdm0 {
	status = "okay";
};

&pinctrl {
	charger {
		charger_ok: charger_ok {
			rockchip,pins = <0 RK_PD5 RK_FUNC_GPIO &pcfg_pull_up>,
					<3 RK_PC3 RK_FUNC_GPIO &pcfg_pull_up>;
		};
	};

	hym8563 {
		hym8563_int: hym8563-int {
			rockchip,pins = <0 RK_PB0 RK_FUNC_GPIO &pcfg_pull_up>;
		};
	};

	lcd {
		lcd_rst_gpio: lcd-rst-gpio {
			rockchip,pins = <1 RK_PA4 RK_FUNC_GPIO &pcfg_pull_none>;
		};
	};

	touch {
		touch_gpio: touch-gpio {
			rockchip,pins =
				<1 RK_PB4 RK_FUNC_GPIO &pcfg_pull_up>,
				<1 RK_PB5 RK_FUNC_GPIO &pcfg_pull_up>;
		};
	};

	usb {
		vcc5v0_host_en: vcc5v0-host-en {
			rockchip,pins = <1 RK_PB1 RK_FUNC_GPIO &pcfg_pull_none>;
		};

		vcc5v0_host_en1: vcc5v0-host-en1 {
			rockchip,pins = <1 RK_PA5 RK_FUNC_GPIO &pcfg_pull_none>;
		};
	};

	usb-typec {
		usbc0_int: usbc0-int {
			rockchip,pins = <0 RK_PC4 RK_FUNC_GPIO &pcfg_pull_up>;
		};

		/*
		 *typec5v_pwren: typec5v-pwren {
		 *        rockchip,pins = <1 RK_PA1 RK_FUNC_GPIO &pcfg_pull_none>;
		 *};
		 */
	};

	wireless-bluetooth {
		uart8_gpios: uart8-gpios {
			rockchip,pins = <3 RK_PA4 RK_FUNC_GPIO &pcfg_pull_none>;
		};

		bt_reset_gpio: bt-reset-gpio {
			rockchip,pins = <3 RK_PB7 RK_FUNC_GPIO &pcfg_pull_none>;
		};

		bt_wake_gpio: bt-wake-gpio {
			rockchip,pins = <3 RK_PC1 RK_FUNC_GPIO &pcfg_pull_none>;
		};

		bt_wake_host_irq: bt-wake-host-irq {
			rockchip,pins = <3 RK_PC0 RK_FUNC_GPIO &pcfg_pull_down>;
		};
	};

	wireless-wlan {
		wifi_host_wake_irq: wifi-host-wake-irq {
			rockchip,pins = <0 RK_PA0 RK_FUNC_GPIO &pcfg_pull_down>;
		};

		wifi_poweren_gpio: wifi-poweren-gpio {
			rockchip,pins = <0 RK_PC7 RK_FUNC_GPIO &pcfg_pull_up>;
		};
	};
};

&pwm13 {
	status = "okay";
	pinctrl-names = "active";
	pinctrl-0 = <&pwm13m1_pins>;
};

&rga2 {
	status = "okay";
};

&rga3_core0 {
	status = "okay";
};

&rga3_0_mmu {
	status = "okay";
};

&rga3_core1 {
	status = "okay";
};

&rga3_1_mmu {
	status = "okay";
};

&rkvdec_ccu {
	status = "okay";
};

&rkvdec0 {
	status = "okay";
};

&rkvdec0_mmu {
	status = "okay";
};

&rkvenc0 {
	status = "okay";
};

&rkvenc0_mmu {
	status = "okay";
};

&rockchip_suspend {
	status = "okay";
	rockchip,sleep-debug-en = <1>;
};

&route_dsi0 {
	status = "okay";
	connect = <&vp2_out_dsi0>;
};

&saradc {
	status = "okay";
	vref-supply = <&vcc_1v8_s0>;
};

&sdhci {
	bus-width = <8>;
	no-sdio;
	no-sd;
	non-removable;
	max-frequency = <200000000>;
	mmc-hs400-1_8v;
	mmc-hs400-enhanced-strobe;
	status = "okay";
};

&spi2 {
	status = "okay";
	pinctrl-names = "default";
	pinctrl-0 = <&spi2m2_cs0 &spi2m2_pins>;
	num-cs = <1>;
};

&tsadc {
	status = "okay";
};

&uart8 {
	status = "okay";
	pinctrl-names = "default";
	pinctrl-0 = <&uart8m1_xfer &uart8m1_ctsn>;
};

&u2phy0 {
	orientation-switch;
	status = "okay";

	port {
		#address-cells = <1>;
		#size-cells = <0>;
		u2phy0_orientation_switch: endpoint@0 {
			reg = <0>;
			remote-endpoint = <&usbc0_orien_sw>;
		};
	};
};

&u2phy0_otg {
	rockchip,sel-pipe-phystatus;
	rockchip,typec-vbus-det;
	status = "okay";
};

&usbdrd3_0 {
	status = "okay";
};

&usbdrd_dwc3_0 {
	dr_mode = "otg";
	status = "okay";

	maximum-speed = "high-speed";
	phys = <&u2phy0_otg>;
	phy-names = "usb2-phy";
	usb-role-switch;
	port {
		#address-cells = <1>;
		#size-cells = <0>;
		dwc3_0_role_switch: endpoint@0 {
			reg = <0>;
			remote-endpoint = <&usbc0_role_sw>;
		};
	};
};

&vdpu {
	status = "okay";
};

&vdpu_mmu {
	status = "okay";
};

&vop {
	status = "okay";
};

&vop_mmu {
	status = "okay";
};

&vp1 {
	rockchip,plane-mask = <(1 << ROCKCHIP_VOP2_CLUSTER0 | 1 << ROCKCHIP_VOP2_ESMART0 |
				1 << ROCKCHIP_VOP2_CLUSTER1 | 1 << ROCKCHIP_VOP2_ESMART1)>;
	rockchip,primary-plane = <ROCKCHIP_VOP2_ESMART1>;
};

&vp2 {
	rockchip,plane-mask = <(1 << ROCKCHIP_VOP2_CLUSTER2 | 1 << ROCKCHIP_VOP2_ESMART2 |
				1 << ROCKCHIP_VOP2_CLUSTER3 | 1 << ROCKCHIP_VOP2_ESMART3)>;
	rockchip,primary-plane = <ROCKCHIP_VOP2_ESMART2>;
};
